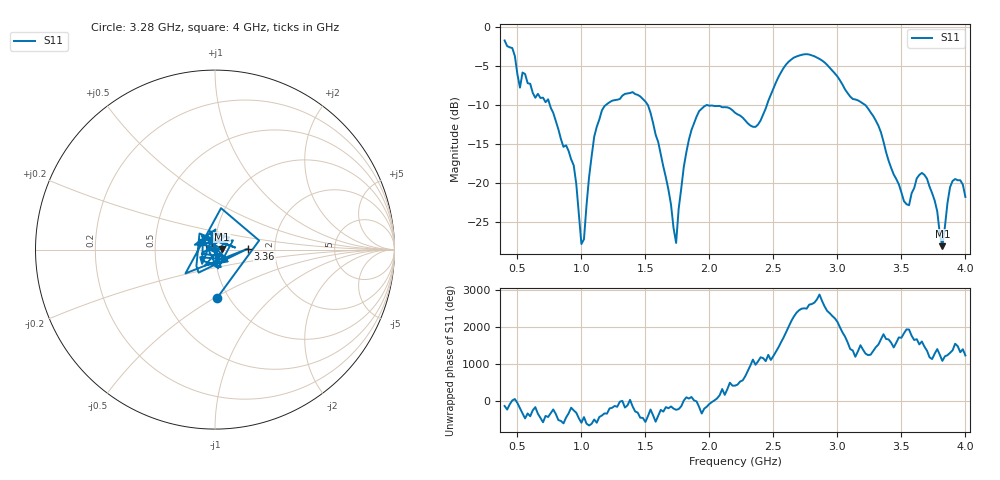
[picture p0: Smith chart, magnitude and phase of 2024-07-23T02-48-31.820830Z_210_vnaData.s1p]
!Created with skrf (http://scikit-rf.org).
# Hz S RI R 50.0
!freq ReS11 ImS11
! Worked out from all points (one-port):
!   181 points, 400 MHz to 4 GHz, reference 50 ohm
!   lowest |S11| = -28.2 dB at 3.82 GHz (marker M1), VSWR 1.08, Z = 54.1 + j0.319 ohm
!   |S11| at or under -10 dB: 1.52 GHz to 1.978 GHz (458.6 MHz wide, 26.2 % of centre); 1.983 GHz to 2.449 GHz (466 MHz wide, 21 % of centre); 3.218 GHz to end of sweep (the widest 3 of 4)
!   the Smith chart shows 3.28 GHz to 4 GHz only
!   S11 on the Smith chart (normalised r, x): 3.28 GHz: 0.89, -0.51; 3.36 GHz: 1.45, +0.02; 4 GHz: 0.87, +0.07
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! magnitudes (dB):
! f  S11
! 400 MHz  -1.7
! 460 MHz  -2.7
! 520 MHz  -7.8
! 540 MHz  -5.8
! 740 MHz  -9.3
! 860 MHz  -15.4
! 940 MHz  -17.8
! 1 GHz  -27.9
! 1.12 GHz  -12.8
! 1.3 GHz  -9.2
! 1.52 GHz  -10.0
! 1.68 GHz  -20.9
! 1.74 GHz  -27.7
! 1.76 GHz  -23.3
! 1.84 GHz  -14.4
! 1.92 GHz  -10.8
! 2.2 GHz  -11.0
! 2.36 GHz  -12.8
! 2.66 GHz  -3.9
! 2.88 GHz  -4.3
! 3.1 GHz  -8.9
! 3.28 GHz  -11.4
! 3.36 GHz  -14.7
! 3.56 GHz  -22.9
! 3.68 GHz  -19.0
! 3.82 GHz  -28.2
! 3.9 GHz  -19.8
! 4 GHz  -21.8
